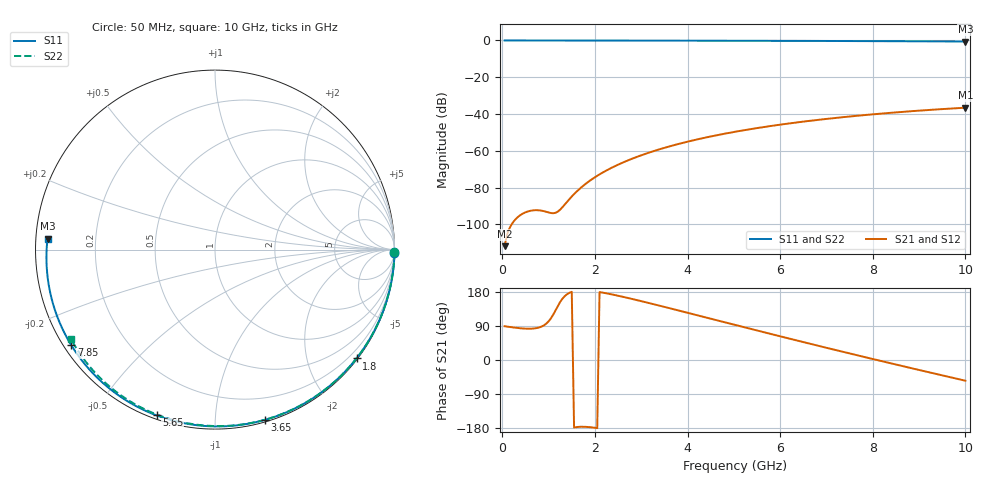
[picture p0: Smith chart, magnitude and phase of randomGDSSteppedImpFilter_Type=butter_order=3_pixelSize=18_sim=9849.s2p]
! freq	dB(S11)	phase(S11)	dB(S12)	phase(S12)
!  dB(S21)	phase(S21)	dB(S22)	phase(S22)
!S-par simulation data
#  GHz  S  DB  R 50
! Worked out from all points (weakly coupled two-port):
!   200 points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, 50 MHz to 10 GHz, reference 50 ohm
!   highest |S21| = -36.56 dB at 10 GHz (marker M1); lowest = -111.8 dB at 50 MHz (marker M2)
!   lowest |S11| = -0.6 dB at 10 GHz (marker M3), VSWR 29.83, Z = 1.68 + j1.65 ohm
!   |S11| at or under -10 dB: nowhere
!   |S22| runs from -0.5 to 0.0 dB; largest |S21 - S12| = 0
!   S11 on the Smith chart (normalised r, x): 50 MHz: open; 1.8 GHz: 0.03, -2.94; 3.65 GHz: 0.02, -1.33; 5.65 GHz: 0.02, -0.71; 7.85 GHz: 0.02, -0.30; 10 GHz: 0.03, +0.03
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0.05  -0.00 -1.1  -111.84 89.1  -111.84 89.1  -0.00 -0.9
0.45  -0.01 -9.6  -94.04 83.2  -94.04 83.2  -0.01 -7.7
0.85  -0.02 -18.0  -92.56 88.3  -92.56 88.3  -0.02 -14.6
1.25  -0.03 -26.3  -91.97 153.3  -91.97 153.3  -0.03 -21.3
1.7  -0.05 -35.5  -80.00 -176.1  -80.00 -176.1  -0.04 -28.8
1.75  -0.05 -36.5  -78.95 -176.1  -78.95 -176.1  -0.04 -29.7
1.8  -0.05 -37.6  -77.94 -176.4  -77.94 -176.4  -0.04 -30.5
2.1  -0.06 -43.6  -72.81 179.3  -72.81 179.3  -0.04 -35.4
2.5  -0.07 -51.6  -67.54 169.6  -67.54 169.6  -0.05 -42.0
2.9  -0.08 -59.4  -63.36 158.3  -63.36 158.3  -0.06 -48.4
3.4  -0.09 -69.0  -59.13 143.2  -59.13 143.2  -0.07 -56.3
3.65  -0.10 -73.7  -57.31 135.5  -57.31 135.5  -0.08 -60.2
4.35  -0.12 -86.6  -53.00 113.7  -53.00 113.7  -0.10 -70.9
5.05  -0.15 -99.0  -49.54 91.9  -49.54 91.9  -0.12 -81.2
5.65  -0.18 -109.4  -47.06 73.3  -47.06 73.3  -0.15 -89.9
6.15  -0.21 -117.9  -45.26 57.9  -45.26 57.9  -0.17 -96.9
6.7  -0.25 -127.2  -43.52 41.2  -43.52 41.2  -0.20 -104.5
7.3  -0.29 -137.2  -41.85 23.2  -41.85 23.2  -0.24 -112.6
7.85  -0.34 -146.3  -40.50 7.0  -40.50 7.0  -0.28 -119.9
8.35  -0.39 -154.7  -39.41 -7.6  -39.41 -7.6  -0.32 -126.5
9.2  -0.48 -169.4  -37.81 -32.1  -37.81 -32.1  -0.41 -137.6
10  -0.58 176.2  -36.56 -54.7  -36.56 -54.7  -0.50 -148.1
